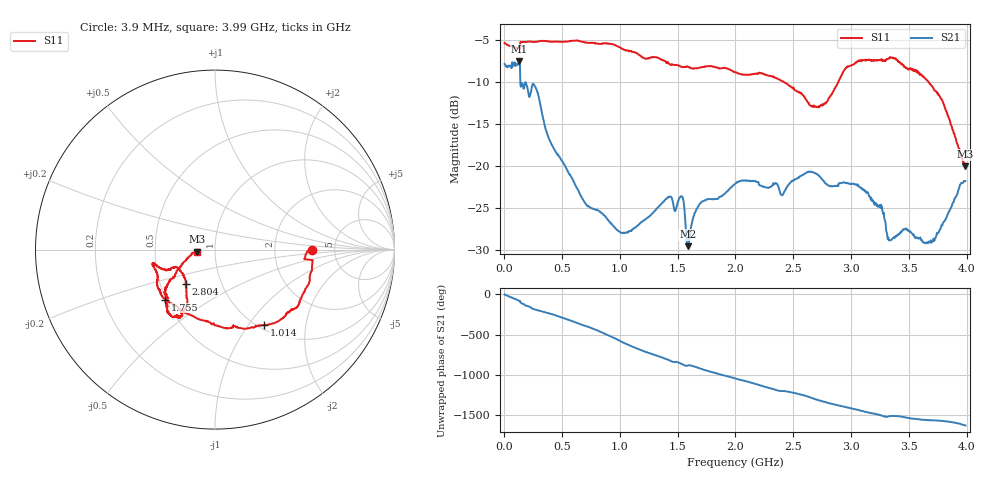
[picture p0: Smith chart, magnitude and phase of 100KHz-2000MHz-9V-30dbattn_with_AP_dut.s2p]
# HZ S RI R 50
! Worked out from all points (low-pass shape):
!   1023 points, 3.9 MHz to 3.99 GHz, reference 50 ohm
!   highest |S21| = -7.51 dB at 128.7 MHz (marker M1); lowest = -29.6 dB at 1.587 GHz (marker M2)
!   |S21| within 3 dB of the highest: start of sweep to 143.6 MHz; 240.8 MHz to 266.2 MHz (25.37 MHz wide, 10 % of centre)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
!   lowest |S11| = -20.0 dB at 3.99 GHz (marker M3), VSWR 1.22, Z = 41 - j0.925 ohm
!   |S11| at or under -10 dB: 2.419 GHz to 2.891 GHz (472.6 MHz wide, 17.8 % of centre); 3.672 GHz to end of sweep
!   S12 and S22 are empty: the file has one direction only
!   S11 on the Smith chart (normalised r, x): 3.9 MHz: 3.35, -0.00; 1.014 GHz: 1.06, -1.20; 1.755 GHz: 0.50, -0.33; 2.804 GHz: 0.68, -0.27; 3.99 GHz: 0.82, -0.02
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3900000  0.5405 -0.000361  0.4049 -0.0137  0 0  0 0
6.63e7  0.5139 -0.0116  0.303 -0.2387  0 0  0 0
1.287e8  0.5006 -0.0452  0.0701 -0.4154  0 0  0 0
1.755e8  0.5416 -0.0801  -0.1872 -0.2352  0 0  0 0
2.574e8  0.5307 -0.139  -0.3051 0.0202  0 0  0 0
4.368e8  0.5002 -0.2284  -0.0292 0.1209  0 0  0 0
6.708e8  0.4403 -0.3314  0.0622 -0.0184  0 0  0 0
1.014e9  0.2741 -0.4214  -0.0273 0.0292  0 0  0 0
1.3338e9  0.0531 -0.4368  0.0382 -0.0424  0 0  0 0
1.5327e9  -0.1235 -0.3698  -0.0519 -0.041  0 0  0 0
1.5873e9  -0.1836 -0.3441  -0.032 -0.00931  0 0  0 0
1.755e9  -0.2769 -0.2788  -0.0425 0.0469  0 0  0 0
1.9968e9  -0.3208 -0.1676  0.061 0.0488  0 0  0 0
2.3283e9  -0.3306 -0.0868  -0.0078 -0.0785  0 0  0 0
2.6637e9  -0.2029 -0.1023  -0.0822 0.0413  0 0  0 0
2.8041e9  -0.1628 -0.1893  -0.0028 0.0766  0 0  0 0
2.9562e9  -0.1796 -0.3399  0.0613 0.0504  0 0  0 0
3.1278e9  -0.1942 -0.377  0.0661 -0.0225  0 0  0 0
3.2643e9  -0.2157 -0.3763  0.0238 -0.0507  0 0  0 0
3.3267e9  -0.2265 -0.3721  0.0101 -0.035  0 0  0 0
3.7128e9  -0.2413 -0.1632  -0.021 -0.0303  0 0  0 0
3.9897e9  -0.0988 -0.0112  -0.0806 0.0107  0 0  0 0
